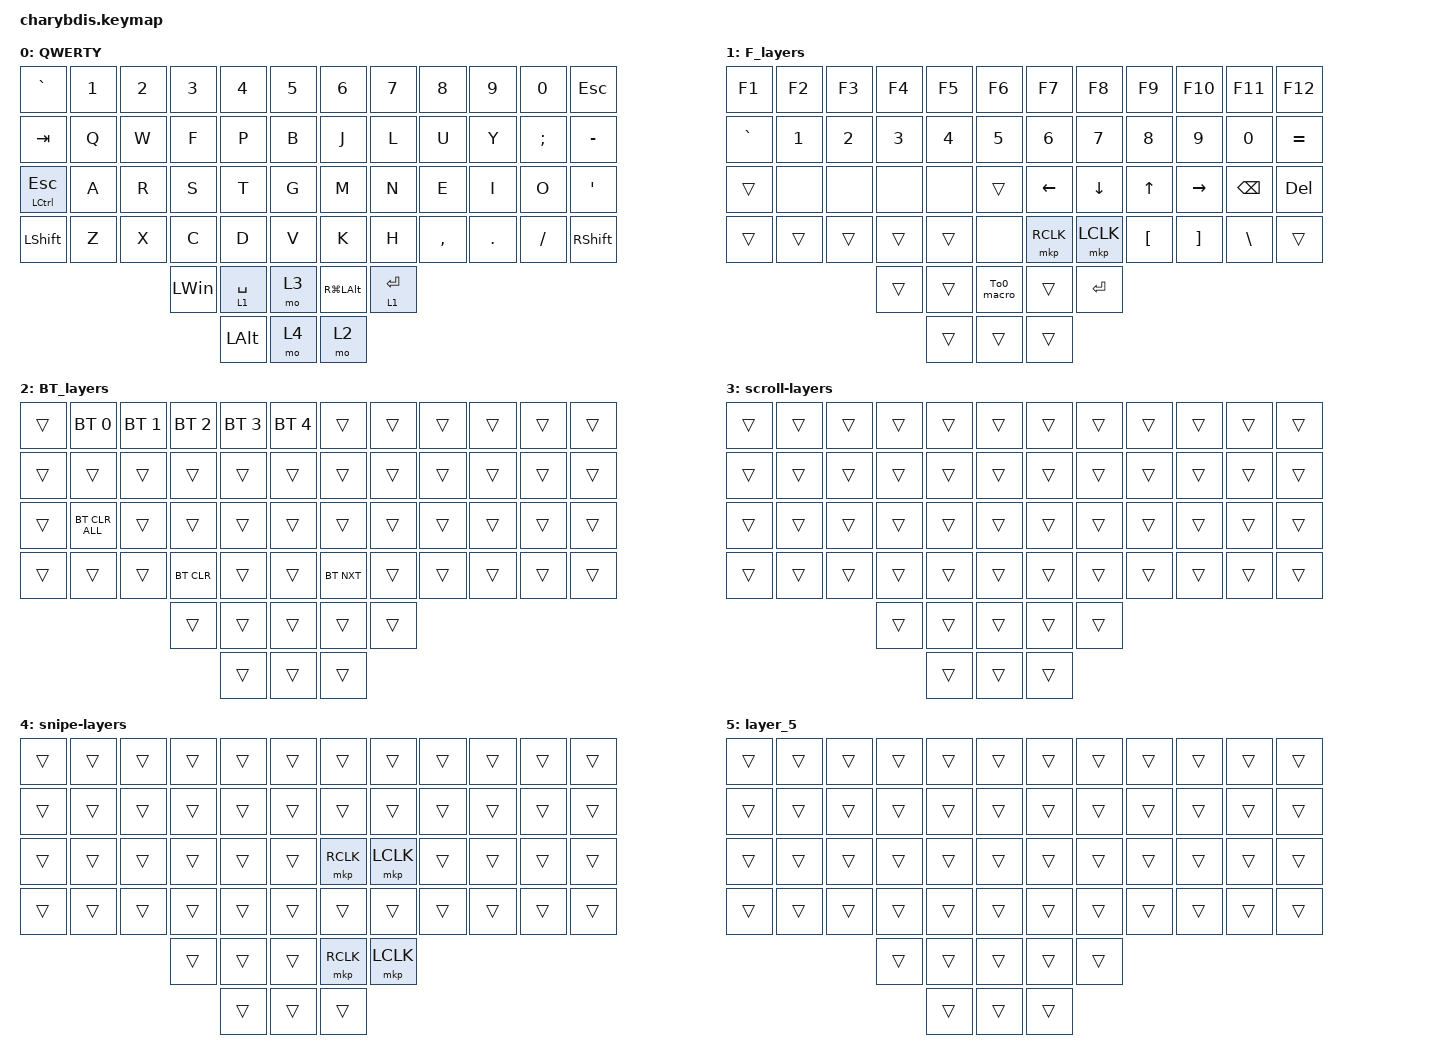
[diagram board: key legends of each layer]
#include <behaviors.dtsi>
#include <dt-bindings/zmk/bt.h>
#include <dt-bindings/zmk/keys.h>
#include <dt-bindings/zmk/pointing.h>
#include <dt-bindings/zmk/rgb.h>

&lt {
    tapping-term-ms = <200>;
    flavor = "balanced";
    quick-tap-ms = <150>;
};

&mt {
    tapping-term-ms = <150>;
    quick-tap-ms = <100>;
};

/ {
    macros {
        To1_macro: To1_macro {
            compatible = "zmk,behavior-macro";
            label = "To1_macro";
            #binding-cells = <0>;
            bindings = <&rgb_ug RGB_EFF &rgb_ug RGB_COLOR_HSB(128,100,50) &to 1>;
        };

        To0_macro: To0_macro {
            compatible = "zmk,behavior-macro";
            label = "To0_macro";
            #binding-cells = <0>;
            bindings = <&rgb_ug RGB_EFR &to 0>;
        };

        To2_macro: To2_macro {
            compatible = "zmk,behavior-macro";
            label = "To2_macro";
            #binding-cells = <0>;
            bindings =
                <&to 2>,
                <&macro_wait_time 30>,
                <&rgb_ug RGB_COLOR_HSB(250,100,50)>;
        };
    };

    keymap {
        compatible = "zmk,keymap";

        QWERTY {
            bindings = <
&kp GRAVE                &kp N1  &kp N2  &kp N3        &kp N4        &kp N5    &kp N6            &kp N7       &kp N8     &kp N9   &kp N0         &kp ESCAPE
&kp TAB                  &kp Q   &kp W   &kp F         &kp P         &kp B     &kp J             &kp L        &kp U      &kp Y    &kp SEMICOLON  &kp MINUS
&mt LEFT_CONTROL ESCAPE  &kp A   &kp R   &kp S         &kp T         &kp G     &kp M             &kp N        &kp E      &kp I    &kp O          &kp SQT
&kp LEFT_SHIFT           &kp Z   &kp X   &kp C         &kp D         &kp V     &kp K             &kp H        &kp COMMA  &kp DOT  &kp FSLH       &kp RIGHT_SHIFT
                                         &kp LEFT_WIN  &lt 1 SPACE   &mo 3     &kp RG(LEFT_ALT)  &lt 1 ENTER
                                                       &kp LEFT_ALT  &mo 4     &mo 2
            >;
        };

        F_layers {
            bindings = <
&kp F1     &kp F2  &kp F3  &kp F4  &kp F5  &kp F6        &kp F7     &kp F8     &kp F9            &kp F10            &kp F11        &kp F12
&kp GRAVE  &kp N1  &kp N2  &kp N3  &kp N4  &kp N5        &kp N6     &kp N7     &kp N8            &kp N9             &kp N0         &kp EQUAL
&trans     &none   &none   &none   &none   &trans        &kp LEFT   &kp DOWN   &kp UP_ARROW      &kp RIGHT          &kp BACKSPACE  &kp DELETE
&trans     &trans  &trans  &trans  &trans  &none         &mkp RCLK  &mkp LCLK  &kp LEFT_BRACKET  &kp RIGHT_BRACKET  &kp BACKSLASH  &trans
                           &trans  &trans  &To0_macro    &trans     &kp ENTER
                                   &trans  &trans        &trans
            >;
        };

        BT_layers {
            bindings = <
&trans  &bt BT_SEL 0    &bt BT_SEL 1  &bt BT_SEL 2  &bt BT_SEL 3  &bt BT_SEL 4    &trans      &trans  &trans  &trans  &trans  &trans
&trans  &trans          &trans        &trans        &trans        &trans          &trans      &trans  &trans  &trans  &trans  &trans
&trans  &bt BT_CLR_ALL  &trans        &trans        &trans        &trans          &trans      &trans  &trans  &trans  &trans  &trans
&trans  &trans          &trans        &bt BT_CLR    &trans        &trans          &bt BT_NXT  &trans  &trans  &trans  &trans  &trans
                                      &trans        &trans        &trans          &trans      &trans
                                                    &trans        &trans          &trans
            >;
        };

        scroll-layers {
            bindings = <
&trans  &trans  &trans  &trans  &trans  &trans    &trans  &trans  &trans  &trans  &trans  &trans
&trans  &trans  &trans  &trans  &trans  &trans    &trans  &trans  &trans  &trans  &trans  &trans
&trans  &trans  &trans  &trans  &trans  &trans    &trans  &trans  &trans  &trans  &trans  &trans
&trans  &trans  &trans  &trans  &trans  &trans    &trans  &trans  &trans  &trans  &trans  &trans
                        &trans  &trans  &trans    &trans  &trans
                                &trans  &trans    &trans
            >;
        };

        snipe-layers {
            bindings = <
&trans  &trans  &trans  &trans  &trans  &trans    &trans     &trans     &trans  &trans  &trans  &trans
&trans  &trans  &trans  &trans  &trans  &trans    &trans     &trans     &trans  &trans  &trans  &trans
&trans  &trans  &trans  &trans  &trans  &trans    &mkp RCLK  &mkp LCLK  &trans  &trans  &trans  &trans
&trans  &trans  &trans  &trans  &trans  &trans    &trans     &trans     &trans  &trans  &trans  &trans
                        &trans  &trans  &trans    &mkp RCLK  &mkp LCLK
                                &trans  &trans    &trans
            >;
        };

        layer_5 {
            bindings = <
&trans  &trans  &trans  &trans  &trans  &trans    &trans  &trans  &trans  &trans  &trans  &trans
&trans  &trans  &trans  &trans  &trans  &trans    &trans  &trans  &trans  &trans  &trans  &trans
&trans  &trans  &trans  &trans  &trans  &trans    &trans  &trans  &trans  &trans  &trans  &trans
&trans  &trans  &trans  &trans  &trans  &trans    &trans  &trans  &trans  &trans  &trans  &trans
                        &trans  &trans  &trans    &trans  &trans
                                &trans  &trans    &trans
            >;
        };
    };
};
